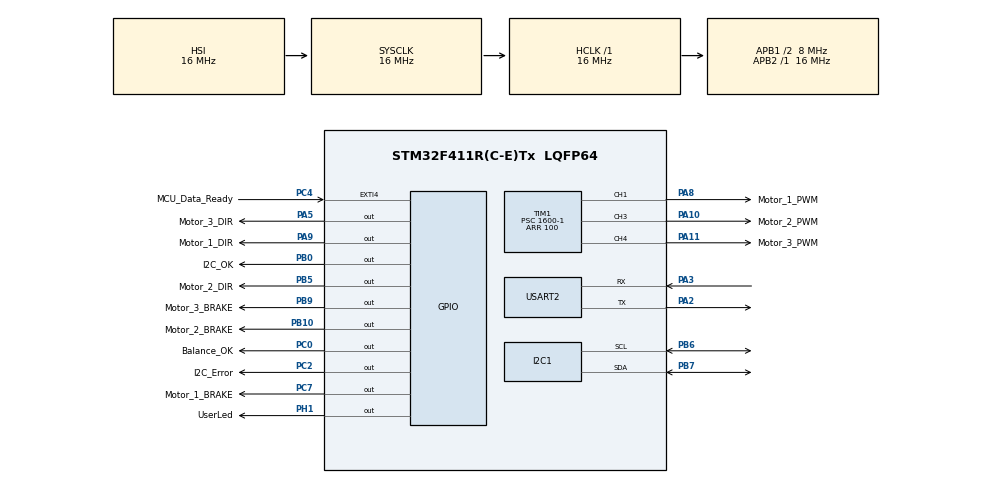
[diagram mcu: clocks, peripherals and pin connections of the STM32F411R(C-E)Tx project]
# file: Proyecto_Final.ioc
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Dma.Request0=USART2_RX
Dma.Request1=USART2_TX
Dma.USART2_RX.0.Direction=DMA_PERIPH_TO_MEMORY
Dma.USART2_RX.0.FIFOMode=DMA_FIFOMODE_DISABLE
Dma.USART2_RX.0.Instance=DMA1_Stream5
Dma.USART2_RX.0.MemDataAlignment=DMA_MDATAALIGN_BYTE
Dma.USART2_RX.0.MemInc=DMA_MINC_ENABLE
Dma.USART2_RX.0.Mode=DMA_NORMAL
Dma.USART2_RX.0.PeriphDataAlignment=DMA_PDATAALIGN_BYTE
Dma.USART2_RX.0.PeriphInc=DMA_PINC_DISABLE
Dma.USART2_RX.0.Priority=DMA_PRIORITY_LOW
Dma.USART2_TX.1.Direction=DMA_MEMORY_TO_PERIPH
Dma.USART2_TX.1.FIFOMode=DMA_FIFOMODE_DISABLE
Dma.USART2_TX.1.Instance=DMA1_Stream6
Dma.USART2_TX.1.MemDataAlignment=DMA_MDATAALIGN_BYTE
Dma.USART2_TX.1.MemInc=DMA_MINC_ENABLE
Dma.USART2_TX.1.Mode=DMA_NORMAL
Dma.USART2_TX.1.PeriphDataAlignment=DMA_PDATAALIGN_BYTE
Dma.USART2_TX.1.PeriphInc=DMA_PINC_DISABLE
Dma.USART2_TX.1.Priority=DMA_PRIORITY_LOW
Mcu.Family=STM32F4
Mcu.Name=STM32F411R(C-E)Tx
Mcu.Package=LQFP64
NVIC.DMA1_Stream5_IRQn=true\:0\:0\:false\:false\:true\:false\:true\:true
NVIC.DMA1_Stream6_IRQn=true\:0\:0\:false\:false\:true\:false\:true\:true
NVIC.PriorityGroup=NVIC_PRIORITYGROUP_0
NVIC.TIM2_IRQn=true\:0\:0\:false\:false\:true\:true\:true\:true
NVIC.USART2_IRQn=true\:0\:0\:false\:false\:true\:true\:true\:true
PA10.GPIO_Label=Motor_2_PWM
PA10.Signal=S_TIM1_CH3
PA11.GPIO_Label=Motor_3_PWM
PA11.Signal=S_TIM1_CH4
PA13.GPIO_Label=TMS
PA13.Mode=Serial_Wire
PA13.Signal=SYS_JTMS-SWDIO
PA14.GPIO_Label=TCK
PA14.Mode=Serial_Wire
PA14.Signal=SYS_JTCK-SWCLK
PA2.GPIO_ModeDefaultPP=GPIO_MODE_AF_PP
PA2.GPIO_PuPd=GPIO_NOPULL
PA2.GPIO_Speed=GPIO_SPEED_FREQ_VERY_HIGH
PA2.Mode=Asynchronous
PA2.Signal=USART2_TX
PA3.GPIO_ModeDefaultPP=GPIO_MODE_AF_PP
PA3.GPIO_PuPd=GPIO_NOPULL
PA3.GPIO_Speed=GPIO_SPEED_FREQ_VERY_HIGH
PA3.Mode=Asynchronous
PA3.Signal=USART2_RX
PA5.GPIO_Label=Motor_3_DIR
PA5.Signal=GPIO_Output
PA8.GPIO_Label=Motor_1_PWM
PA8.Signal=S_TIM1_CH1
PA9.GPIO_Label=Motor_1_DIR
PA9.Signal=GPIO_Output
PB0.GPIO_Label=I2C_OK
PB0.Signal=GPIO_Output
PB10.GPIO_Label=Motor_2_BRAKE
PB10.Signal=GPIO_Output
PB3.GPIO_Label=SWO
PB3.Signal=SYS_JTDO-SWO
PB5.GPIO_Label=Motor_2_DIR
PB5.Signal=GPIO_Output
PB6.Mode=I2C
PB6.Signal=I2C1_SCL
PB7.Mode=I2C
PB7.Signal=I2C1_SDA
PB9.GPIO_Label=Motor_3_BRAKE
PB9.Signal=GPIO_Output
PC0.GPIO_Label=Balance_OK
PC0.Signal=GPIO_Output
PC2.GPIO_Label=I2C_Error
PC2.Signal=GPIO_Output
PC4.GPIO_Label=MCU_Data_Ready
PC4.Signal=GPXTI4
PC7.GPIO_Label=Motor_1_BRAKE
PC7.Signal=GPIO_Output
PH1\ -\ OSC_OUT.GPIO_Label=UserLed
PH1\ -\ OSC_OUT.Signal=GPIO_Output
ProjectManager.HeapSize=0x200
ProjectManager.StackSize=0x400
ProjectManager.TargetToolchain=STM32CubeIDE
RCC.48MHZClocksFreq_Value=84000000
RCC.AHBFreq_Value=16000000
RCC.APB1CLKDivider=RCC_HCLK_DIV2
RCC.APB1Freq_Value=8000000
RCC.APB1TimFreq_Value=16000000
RCC.APB2Freq_Value=16000000
RCC.APB2TimFreq_Value=16000000
RCC.CortexFreq_Value=16000000
RCC.FLatency-AdvancedSettings=FLASH_LATENCY_0
RCC.HCLKFreq_Value=16000000
RCC.HSE_VALUE=8000000
RCC.HSI_VALUE=16000000
RCC.LSE_VALUE=32768
RCC.PLLN=336
RCC.PLLP=RCC_PLLP_DIV4
RCC.SYSCLKFreq_VALUE=16000000
RCC.VCOOutputFreq_Value=336000000
SH.S_TIM1_CH1.0=TIM1_CH1,PWM Generation1 CH1
SH.S_TIM1_CH3.0=TIM1_CH3,PWM Generation3 CH3
SH.S_TIM1_CH4.0=TIM1_CH4,PWM Generation4 CH4
TIM1.Channel-PWM\ Generation1\ CH1=TIM_CHANNEL_1
TIM1.Channel-PWM\ Generation3\ CH3=TIM_CHANNEL_3
TIM1.Channel-PWM\ Generation4\ CH4=TIM_CHANNEL_4
TIM1.Period=100
TIM1.Prescaler=1600-1
TIM1.Pulse-PWM\ Generation1\ CH1=50
TIM1.Pulse-PWM\ Generation3\ CH3=50
TIM1.Pulse-PWM\ Generation4\ CH4=50
TIM2.Period=250-1
TIM2.Prescaler=16000-1
USART2.VirtualMode=VM_ASYNC
VP_TIM1_VS_ClockSourceINT.Mode=Internal
VP_TIM2_VS_ClockSourceINT.Mode=Internal
board=NUCLEO-F411RE

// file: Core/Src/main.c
/* USER CODE BEGIN Header */
/**
  ******************************************************************************
  * @file           : main.c
  * @brief          : Main Proyecto Final Taller V, 2025-1
  * @author		 	: Jose Andrés Díaz Gutiérrez
  ******************************************************************************
  * @attention
  *
  * Copyright (c) 2025 STMicroelectronics.
  * All rights reserved.
  *
  *
  ******************************************************************************
  */
/* USER CODE END Header */
#include "main.h"

/* USER CODE BEGIN Includes */
#include "stdint.h"
#include "string.h"
#include "stdio.h"
#include <stdlib.h>
#define ARM_MATH_CM4	//Definimos esto porque estamos usando el núcleo ARM-Cortex M4
#include "arm_math.h"
#include "stm32f4xx_hal.h"
#include "arm_const_structs.h"
/* USER CODE END Includes */

I2C_HandleTypeDef hi2c1;

TIM_HandleTypeDef htim1;
TIM_HandleTypeDef htim2;

UART_HandleTypeDef huart2;
DMA_HandleTypeDef hdma_usart2_rx;
DMA_HandleTypeDef hdma_usart2_tx;

/* USER CODE BEGIN PV */
State_t Current_State = STATE_IDLE; 	// Se fija el estado por defecto

//Variables auxiliares para la comunciación USART
uint16_t rx_buffer_length = 64;
uint8_t rx_Buffer_A[RX_BUFFER_MAX_LENGTH]; // Buffer de recepción A
uint8_t rx_Buffer_B[RX_BUFFER_MAX_LENGTH]; // Buffer de recepción B
char 	tx_buffer[100];

volatile Paquete_Datos paquete_listo = {.buffer = NULL, .size = 0};
volatile BufferActivo buffer_activo_DMA = BUFFER_A;
uint8_t*  rx_buffer;
uint16_t  rx_size;

char *argumento_comandos;

//Variables para el acelerómetro
float ACCEL_X, ACCEL_Y, ACCEL_Z; // Variables para almacenar los valores del acelerómetro
float GYRO_X, GYRO_Y, GYRO_Z; // Variables para almacenar los valores del giroscopio
int16_t ACCEL_X_RAW, ACCEL_Y_RAW, ACCEL_Z_RAW; // Variables para almacenar los valores del acelerómetro _RAW
int16_t GYRO_X_RAW, GYRO_Y_RAW, GYRO_Z_RAW; // Variables para almacenar los valores del giroscopio _RAW

//Variables para el MPU6050
float dt = 1.0f / 700.0f;  // Tiempo entre lecturas, el MPU6050 tiene una frecuencia de 700Hz
float alpha = 0.98;        // Puedes ajustar entre 0.95 y 0.99 si quieres mayor o menor peso del giroscopio
float angulo = 0;

//Variable para el tracking del estado del balance
uint8_t balance = 0; // 0 = Balance desactivado, 1 = Balance activado

//Variables para el PID
float target_angle = 0.0f;      // Ángulo objetivo (vertical = 0°)
float error = 0.0f;
float prev_error = 0.0f;
float integral = 0.0f;
float derivative = 0.0f;

float kp = 3.73f;           // Ganancia proporcional
float ki = 0.12f;            // Ganancia integral
float kd = 0.31f;            // Ganancia derivativa

float pid_output = 0.0f;    // Salida del PID

//Le asignamos a una variable el mensaje de help, tipo static porque pues, no lo vamos a modificar nunca
static const char help_msg[] =
    "Opciones:\r\n"
    "1.  Configurar periodo del Blinky:              Config_Blinky_Period <Period (ms)>\r\n";

/* USER CODE END PV */

void SystemClock_Config(void);
static void MX_GPIO_Init(void);
static void MX_DMA_Init(void);
static void MX_USART2_UART_Init(void);
static void MX_I2C1_Init(void);
static void MX_TIM2_Init(void);
static void MX_TIM1_Init(void);
/* USER CODE BEGIN PFP */
void printhelp(void);
void FSM_update(State_t State);
void  I2C_verify(void);
void MPU6050_Init(void);
/* USER CODE END PFP */

int main(void)
{

  /* MCU Configuration--------------------------------------------------------*/

  /* Reset of all peripherals, Initializes the Flash interface and the Systick. */
  HAL_Init();

  /* Configure the system clock */
  SystemClock_Config();

  /* Initialize all configured peripherals */
  MX_GPIO_Init();
  MX_DMA_Init();
  MX_USART2_UART_Init();
  MX_I2C1_Init();
  MX_TIM2_Init();
  MX_TIM1_Init();
  /* USER CODE BEGIN 2 */

  HAL_TIM_PWM_Start(&htim1, TIM_CHANNEL_1);
  HAL_TIM_PWM_Start(&htim1, TIM_CHANNEL_3);
  HAL_TIM_PWM_Start(&htim1, TIM_CHANNEL_4);

  HAL_TIM_Base_Start_IT(&htim2); 	// Inicia el Timer 2 para interrupciones

  HAL_UARTEx_ReceiveToIdle_DMA(&huart2, rx_Buffer_A, rx_buffer_length); // Configura la recepción DMA con IDLE

  MPU6050_Init(); //Inicializamos el MPU6050

  //Todos los motores empiezan con el freno activado
  HAL_GPIO_WritePin(Motor_1_BRAKE_GPIO_Port, Motor_1_BRAKE_Pin, GPIO_PIN_RESET);
  HAL_GPIO_WritePin(Motor_2_BRAKE_GPIO_Port, Motor_2_BRAKE_Pin, GPIO_PIN_RESET);
  HAL_GPIO_WritePin(Motor_3_BRAKE_GPIO_Port, Motor_3_BRAKE_Pin, GPIO_PIN_RESET);

  /* USER CODE END 2 */

  /* Infinite loop */
  while (1){

    /* USER CODE BEGIN 3 */
	  I2C_verify(); // Verifica el estado del I2C y MPU6050
	  FSM_update(Current_State); // Llama a la función de actualización del FSM

  }
  /* USER CODE END 3 */
}

void SystemClock_Config(void)
{
  RCC_OscInitTypeDef RCC_OscInitStruct = {0};
  RCC_ClkInitTypeDef RCC_ClkInitStruct = {0};

  /** Configure the main internal regulator output voltage
  */
  __HAL_RCC_PWR_CLK_ENABLE();
  __HAL_PWR_VOLTAGESCALING_CONFIG(PWR_REGULATOR_VOLTAGE_SCALE1);

  /** Initializes the RCC Oscillators according to the specified parameters
  * in the RCC_OscInitTypeDef structure.
  */
  RCC_OscInitStruct.OscillatorType = RCC_OSCILLATORTYPE_HSI;
  RCC_OscInitStruct.HSIState = RCC_HSI_ON;
  RCC_OscInitStruct.HSICalibrationValue = RCC_HSICALIBRATION_DEFAULT;
  RCC_OscInitStruct.PLL.PLLState = RCC_PLL_NONE;
  if (HAL_RCC_OscConfig(&RCC_OscInitStruct) != HAL_OK)
  {
    Error_Handler();
  }

  /** Initializes the CPU, AHB and APB buses clocks
  */
  RCC_ClkInitStruct.ClockType = RCC_CLOCKTYPE_HCLK|RCC_CLOCKTYPE_SYSCLK
                              |RCC_CLOCKTYPE_PCLK1|RCC_CLOCKTYPE_PCLK2;
  RCC_ClkInitStruct.SYSCLKSource = RCC_SYSCLKSOURCE_HSI;
  RCC_ClkInitStruct.AHBCLKDivider = RCC_SYSCLK_DIV1;
  RCC_ClkInitStruct.APB1CLKDivider = RCC_HCLK_DIV2;
  RCC_ClkInitStruct.APB2CLKDivider = RCC_HCLK_DIV1;

  if (HAL_RCC_ClockConfig(&RCC_ClkInitStruct, FLASH_LATENCY_0) != HAL_OK)
  {
    Error_Handler();
  }
}

static void MX_I2C1_Init(void)
{

  hi2c1.Instance = I2C1;
  hi2c1.Init.ClockSpeed = 100000;
  hi2c1.Init.DutyCycle = I2C_DUTYCYCLE_2;
  hi2c1.Init.OwnAddress1 = 0;
  hi2c1.Init.AddressingMode = I2C_ADDRESSINGMODE_7BIT;
  hi2c1.Init.DualAddressMode = I2C_DUALADDRESS_DISABLE;
  hi2c1.Init.OwnAddress2 = 0;
  hi2c1.Init.GeneralCallMode = I2C_GENERALCALL_DISABLE;
  hi2c1.Init.NoStretchMode = I2C_NOSTRETCH_DISABLE;
  if (HAL_I2C_Init(&hi2c1) != HAL_OK)
  {
    Error_Handler();
  }

}

static void MX_TIM1_Init(void)
{

  TIM_ClockConfigTypeDef sClockSourceConfig = {0};
  TIM_MasterConfigTypeDef sMasterConfig = {0};
  TIM_OC_InitTypeDef sConfigOC = {0};
  TIM_BreakDeadTimeConfigTypeDef sBreakDeadTimeConfig = {0};

  htim1.Instance = TIM1;
  htim1.Init.Prescaler = 1600-1;
  htim1.Init.CounterMode = TIM_COUNTERMODE_UP;
  htim1.Init.Period = 100;
  htim1.Init.ClockDivision = TIM_CLOCKDIVISION_DIV1;
  htim1.Init.RepetitionCounter = 0;
  htim1.Init.AutoReloadPreload = TIM_AUTORELOAD_PRELOAD_DISABLE;
  if (HAL_TIM_Base_Init(&htim1) != HAL_OK)
  {
    Error_Handler();
  }
  sClockSourceConfig.ClockSource = TIM_CLOCKSOURCE_INTERNAL;
  if (HAL_TIM_ConfigClockSource(&htim1, &sClockSourceConfig) != HAL_OK)
  {
    Error_Handler();
  }
  if (HAL_TIM_PWM_Init(&htim1) != HAL_OK)
  {
    Error_Handler();
  }
  sMasterConfig.MasterOutputTrigger = TIM_TRGO_RESET;
  sMasterConfig.MasterSlaveMode = TIM_MASTERSLAVEMODE_DISABLE;
  if (HAL_TIMEx_MasterConfigSynchronization(&htim1, &sMasterConfig) != HAL_OK)
  {
    Error_Handler();
  }
  sConfigOC.OCMode = TIM_OCMODE_PWM1;
  sConfigOC.Pulse = 50;
  sConfigOC.OCPolarity = TIM_OCPOLARITY_HIGH;
  sConfigOC.OCNPolarity = TIM_OCNPOLARITY_HIGH;
  sConfigOC.OCFastMode = TIM_OCFAST_DISABLE;
  sConfigOC.OCIdleState = TIM_OCIDLESTATE_RESET;
  sConfigOC.OCNIdleState = TIM_OCNIDLESTATE_RESET;
  if (HAL_TIM_PWM_ConfigChannel(&htim1, &sConfigOC, TIM_CHANNEL_1) != HAL_OK)
  {
    Error_Handler();
  }
  if (HAL_TIM_PWM_ConfigChannel(&htim1, &sConfigOC, TIM_CHANNEL_3) != HAL_OK)
  {
    Error_Handler();
  }
  if (HAL_TIM_PWM_ConfigChannel(&htim1, &sConfigOC, TIM_CHANNEL_4) != HAL_OK)
  {
    Error_Handler();
  }
  sBreakDeadTimeConfig.OffStateRunMode = TIM_OSSR_DISABLE;
  sBreakDeadTimeConfig.OffStateIDLEMode = TIM_OSSI_DISABLE;
  sBreakDeadTimeConfig.LockLevel = TIM_LOCKLEVEL_OFF;
  sBreakDeadTimeConfig.DeadTime = 0;
  sBreakDeadTimeConfig.BreakState = TIM_BREAK_DISABLE;
  sBreakDeadTimeConfig.BreakPolarity = TIM_BREAKPOLARITY_HIGH;
  sBreakDeadTimeConfig.AutomaticOutput = TIM_AUTOMATICOUTPUT_DISABLE;
  if (HAL_TIMEx_ConfigBreakDeadTime(&htim1, &sBreakDeadTimeConfig) != HAL_OK)
  {
    Error_Handler();
  }
  HAL_TIM_MspPostInit(&htim1);

}

static void MX_TIM2_Init(void)
{

  TIM_ClockConfigTypeDef sClockSourceConfig = {0};
  TIM_MasterConfigTypeDef sMasterConfig = {0};

  htim2.Instance = TIM2;
  htim2.Init.Prescaler = 16000-1;
  htim2.Init.CounterMode = TIM_COUNTERMODE_UP;
  htim2.Init.Period = 250-1;
  htim2.Init.ClockDivision = TIM_CLOCKDIVISION_DIV1;
  htim2.Init.AutoReloadPreload = TIM_AUTORELOAD_PRELOAD_DISABLE;
  if (HAL_TIM_Base_Init(&htim2) != HAL_OK)
  {
    Error_Handler();
  }
  sClockSourceConfig.ClockSource = TIM_CLOCKSOURCE_INTERNAL;
  if (HAL_TIM_ConfigClockSource(&htim2, &sClockSourceConfig) != HAL_OK)
  {
    Error_Handler();
  }
  sMasterConfig.MasterOutputTrigger = TIM_TRGO_RESET;
  sMasterConfig.MasterSlaveMode = TIM_MASTERSLAVEMODE_DISABLE;
  if (HAL_TIMEx_MasterConfigSynchronization(&htim2, &sMasterConfig) != HAL_OK)
  {
    Error_Handler();
  }

}

static void MX_USART2_UART_Init(void)
{

  huart2.Instance = USART2;
  huart2.Init.BaudRate = 115200;
  huart2.Init.WordLength = UART_WORDLENGTH_8B;
  huart2.Init.StopBits = UART_STOPBITS_1;
  huart2.Init.Parity = UART_PARITY_NONE;
  huart2.Init.Mode = UART_MODE_TX_RX;
  huart2.Init.HwFlowCtl = UART_HWCONTROL_NONE;
  huart2.Init.OverSampling = UART_OVERSAMPLING_16;
  if (HAL_UART_Init(&huart2) != HAL_OK)
  {
    Error_Handler();
  }

}

static void MX_DMA_Init(void)
{

  /* DMA controller clock enable */
  __HAL_RCC_DMA1_CLK_ENABLE();

  /* DMA interrupt init */
  /* DMA1_Stream5_IRQn interrupt configuration */
  HAL_NVIC_SetPriority(DMA1_Stream5_IRQn, 0, 0);
  HAL_NVIC_EnableIRQ(DMA1_Stream5_IRQn);
  /* DMA1_Stream6_IRQn interrupt configuration */
  HAL_NVIC_SetPriority(DMA1_Stream6_IRQn, 0, 0);
  HAL_NVIC_EnableIRQ(DMA1_Stream6_IRQn);

}

static void MX_GPIO_Init(void)
{
  GPIO_InitTypeDef GPIO_InitStruct = {0};

  /* GPIO Ports Clock Enable */
  __HAL_RCC_GPIOH_CLK_ENABLE();
  __HAL_RCC_GPIOC_CLK_ENABLE();
  __HAL_RCC_GPIOA_CLK_ENABLE();
  __HAL_RCC_GPIOB_CLK_ENABLE();

  /*Configure GPIO pin Output Level */
  HAL_GPIO_WritePin(UserLed_GPIO_Port, UserLed_Pin, GPIO_PIN_RESET);

  /*Configure GPIO pin Output Level */
  HAL_GPIO_WritePin(GPIOC, Balance_OK_Pin|I2C_Error_Pin|Motor_1_BRAKE_Pin, GPIO_PIN_RESET);

  /*Configure GPIO pin Output Level */
  HAL_GPIO_WritePin(GPIOA, Motor_3_DIR_Pin|Motor_1_DIR_Pin, GPIO_PIN_RESET);

  /*Configure GPIO pin Output Level */
  HAL_GPIO_WritePin(GPIOB, I2C_OK_Pin|Motor_2_BRAKE_Pin|Motor_2_DIR_Pin|Motor_3_BRAKE_Pin, GPIO_PIN_RESET);

  /*Configure GPIO pin : UserLed_Pin */
  GPIO_InitStruct.Pin = UserLed_Pin;
  GPIO_InitStruct.Mode = GPIO_MODE_OUTPUT_PP;
  GPIO_InitStruct.Pull = GPIO_NOPULL;
  GPIO_InitStruct.Speed = GPIO_SPEED_FREQ_LOW;
  HAL_GPIO_Init(UserLed_GPIO_Port, &GPIO_InitStruct);

  /*Configure GPIO pins : Balance_OK_Pin I2C_Error_Pin Motor_1_BRAKE_Pin */
  GPIO_InitStruct.Pin = Balance_OK_Pin|I2C_Error_Pin|Motor_1_BRAKE_Pin;
  GPIO_InitStruct.Mode = GPIO_MODE_OUTPUT_PP;
  GPIO_InitStruct.Pull = GPIO_NOPULL;
  GPIO_InitStruct.Speed = GPIO_SPEED_FREQ_LOW;
  HAL_GPIO_Init(GPIOC, &GPIO_InitStruct);

  /*Configure GPIO pins : Motor_3_DIR_Pin Motor_1_DIR_Pin */
  GPIO_InitStruct.Pin = Motor_3_DIR_Pin|Motor_1_DIR_Pin;
  GPIO_InitStruct.Mode = GPIO_MODE_OUTPUT_PP;
  GPIO_InitStruct.Pull = GPIO_NOPULL;
  GPIO_InitStruct.Speed = GPIO_SPEED_FREQ_LOW;
  HAL_GPIO_Init(GPIOA, &GPIO_InitStruct);

  /*Configure GPIO pin : MCU_Data_Ready_Pin */
  GPIO_InitStruct.Pin = MCU_Data_Ready_Pin;
  GPIO_InitStruct.Mode = GPIO_MODE_IT_RISING;
  GPIO_InitStruct.Pull = GPIO_NOPULL;
  HAL_GPIO_Init(MCU_Data_Ready_GPIO_Port, &GPIO_InitStruct);

  /*Configure GPIO pins : I2C_OK_Pin Motor_2_BRAKE_Pin Motor_2_DIR_Pin Motor_3_BRAKE_Pin */
  GPIO_InitStruct.Pin = I2C_OK_Pin|Motor_2_BRAKE_Pin|Motor_2_DIR_Pin|Motor_3_BRAKE_Pin;
  GPIO_InitStruct.Mode = GPIO_MODE_OUTPUT_PP;
  GPIO_InitStruct.Pull = GPIO_NOPULL;
  GPIO_InitStruct.Speed = GPIO_SPEED_FREQ_LOW;
  HAL_GPIO_Init(GPIOB, &GPIO_InitStruct);

  /* USER CODE BEGIN MX_GPIO_Init_2 */
  // Para EXTI0 (PC0)
  HAL_NVIC_SetPriority(EXTI0_IRQn, 0, 0);
  HAL_NVIC_EnableIRQ(EXTI0_IRQn);

  // Para EXTI1 (PC1)
  HAL_NVIC_SetPriority(EXTI1_IRQn, 0, 0);
  HAL_NVIC_EnableIRQ(EXTI1_IRQn);

  // Para EXTI4 (PA4)
  HAL_NVIC_SetPriority(EXTI4_IRQn, 0, 0);
  HAL_NVIC_EnableIRQ(EXTI4_IRQn);

  // Para EXTI15_10 (PB15)
  HAL_NVIC_SetPriority(EXTI15_10_IRQn, 0, 0);
  HAL_NVIC_EnableIRQ(EXTI15_10_IRQn);
  /* USER CODE END MX_GPIO_Init_2 */
}

/* USER CODE BEGIN 4 */
void printhelp(void){
	//Esta función imprime el menú de opciones en el terminal
	HAL_UART_Transmit_DMA(&huart2, (uint8_t *)help_msg,strlen(help_msg));
	Current_State = STATE_IDLE; //Se vuelve al estado de REFRESCO
}

void  I2C_verify(void){
	uint8_t check;
	HAL_I2C_Mem_Read(&hi2c1, MPU6050_ADDR, MCU_WHO_AM_I_REG, 1, &check, 1, 1000);
	if (check == 0x68) {
	    //La pantalla y el MPU están respondiendo
		HAL_GPIO_WritePin(I2C_OK_GPIO_Port, I2C_OK_Pin, GPIO_PIN_SET);
	} else {
		HAL_GPIO_WritePin(I2C_OK_GPIO_Port, I2C_OK_Pin, GPIO_PIN_RESET);
		HAL_GPIO_WritePin(I2C_Error_GPIO_Port, I2C_Error_Pin, GPIO_PIN_SET);

	}
}

void MPU6050_Init(void){
	uint8_t check, data; //Variables auxiliares para la comunicación I2C
	//Primero verificamos que el MPU6050 esté conectado, leyendo el registro WHO_AM_I (0x75), el sensor debería retornar 0x68, su ADDRESS con AD0 = 0
	HAL_I2C_Mem_Read(&hi2c1, MPU6050_ADDR, MCU_WHO_AM_I_REG, 1, &check, 1, 1000);

	if(check != 0x68){
		//El sensor no está conectado correctamente
		const char *msg = "MPU6050 desconectado. Conéctelo correctamente y escriba: Start_DMU.\n";
		HAL_UART_Transmit_DMA(&huart2, (uint8_t *)msg, strlen(msg));
		HAL_GPIO_WritePin(I2C_Error_GPIO_Port, I2C_Error_Pin, GPIO_PIN_SET);
		return; //No se puede continuar
	}
	HAL_GPIO_WritePin(I2C_OK_GPIO_Port, I2C_OK_Pin, GPIO_PIN_SET);
	//Si está conectado, procedemos a configurarlo, escribiendno en el registro PWR_MGMT_1 (0x6B) un 0x00, para que el sensor esté activo
	/*	Bit 7: Device_Reset 	= 0, No queremos reiniciar el dispositivo
	 *  Bit 6: Sleep 			= 0, No queremos que el dispositivo esté en modo de sueño
	 *  Bit 5: Cycle 			= 0, No queremos que el dispositivo esté en modo de ciclo
	 *  Bit 4: Reserved 		= 0, Reservado
	 *  Bit 3: Temp_Disable 	= 1, No necesitamos que el sensor mida la temperatura
	 *  Bit 2-0: Clock_Select 	= 000, Seleccionamos el reloj interno del sensor
	 *  Escribimos entonces  0b00001000 = 0x08
	 */
	data = 0x08; //Valor a escribir en el registro PWR_MGMT_1
	HAL_I2C_Mem_Write(&hi2c1, MPU6050_ADDR, PWR_MGMT_1_REG, 1, &data, 1, 1000);
	/*
	 * Ahora debemos configurar el sample rate del sensor, fijándonos en el registro SMPLRT_DIV 0x19 y en el Configuration 0x1A
	 * Por defecto, configuration = 0x00, lo que significa que el sensor tiene un gyroscope output rate de 8kHz
	 * Luego, en en SMPLRT_Div, escribimos un valor de 0x07, para configurar el sample rate a 1kHz
	 * Sample Rate = Gyroscope Output Rate / (1 + SMPLRT_DIV)
	 */
	data = 0x08; //Valor para escribir en SMPLRT_DIV
	HAL_I2C_Mem_Write(&hi2c1, MPU6050_ADDR, SMPLRT_DIV_REG, 1, &data, 1, 1000);
	/*
	 * Procedemos a configurar la escala del giroscopio y acelerómetro a un rango de 2000°/s 0x18
	 * Y un rango en la aceleración de +- 2g: 0x18
	 * Omitimos los self tests, pues no los vamos a usar
	 */
	data = 0x00; //Valor para escribir en el registro GYRO_CONFIG (0x1B) y ACCEL_CONFIG_REG (0x1C)
	HAL_I2C_Mem_Write(&hi2c1, MPU6050_ADDR, GYRO_CONFIG_REG, 1, &data, 1, 1000);
	HAL_I2C_Mem_Write(&hi2c1, MPU6050_ADDR, ACCEL_CONFIG_REG, 1, &data, 1, 1000);

	data = 0x01; //Valor a escribir en el INT_ENABLE para activar una interrupción en el MPU cada que hayan datos listos para leer
	HAL_I2C_Mem_Write(&hi2c1, MPU6050_ADDR, MCU_INT_ENABLE, 1, &data, 1, 1000);

}

void MPU6050_Read_Accel(void){
	/*
	 * La configuración que tenemos es de +- 16g
	 * Por lo tanto, LSB sensitivity es de 2048 LSB/g
	 */
	uint8_t data_Recolectada[6];

	// Leemos los 6 bytes de data empezando desde el registro ACCEL_XOUT_H (0x3B)

	HAL_I2C_Mem_Read(&hi2c1, MPU6050_ADDR, ACCEL_XOUT_H_REG, 1, data_Recolectada, 6, 1000);

	ACCEL_X_RAW = (int16_t)(data_Recolectada[0] << 8 | data_Recolectada[1]); // Combinamos los dos bytes de datos para el eje X
	ACCEL_Y_RAW = (int16_t)(data_Recolectada[2] << 8 | data_Recolectada[3]); // Combinamos los dos bytes de datos para el eje Y
	ACCEL_Z_RAW = (int16_t)(data_Recolectada[4] << 8 | data_Recolectada[5]); // Combinamos los dos bytes de datos para el eje Z

	ACCEL_X = (float )ACCEL_X_RAW / 16384; // Convertimos a g
	ACCEL_Y = (float )ACCEL_Y_RAW / 16384; // Convertimos a g
	ACCEL_Z = (float )ACCEL_Z_RAW / 16384; // Convertimos a g
}

void MPU6050_Read_Gyro(void){
	/*
	 * La configuración que tenemos es de 2000°/s
	 * Por lo tanto, LSB sensitivity es de 16.4 LSB/s
	 */
	uint8_t data_Recolectada[6];

	// Leemos los 6 bytes de data empezando desde el registro GYRO_XOUT_H (0x43)

	HAL_I2C_Mem_Read(&hi2c1, MPU6050_ADDR, GYRO_XOUT_H_REG, 1, data_Recolectada, 6, 1000);

	GYRO_X_RAW = (int16_t)(data_Recolectada[0] << 8 | data_Recolectada[1]); // Combinamos los dos bytes de datos para el eje X
	GYRO_Y_RAW = (int16_t)(data_Recolectada[2] << 8 | data_Recolectada[3]); // Combinamos los dos bytes de datos para el eje Y
	GYRO_Z_RAW = (int16_t)(data_Recolectada[4] << 8 | data_Recolectada[5]); // Combinamos los dos bytes de datos para el eje Z

	GYRO_X = (float )GYRO_X_RAW / 131; // Convertimos a °/s
	GYRO_Y = (float )GYRO_Y_RAW / 131; // Convertimos a °/s
	GYRO_Z = (float )GYRO_Z_RAW / 131; // Convertimos a °/s
}

void update_angle_with_complementary_filter() {

    MPU6050_Read_Accel();
    MPU6050_Read_Gyro();

    // Calcula ángulo a partir del acelerómetro (ejemplo: eje Y vs Z, inclinación sobre eje X)
    float accel_angle = atan2f(ACCEL_Y, ACCEL_Z) * 180.0f / M_PI;

    // Integración del giroscopio (ejemplo: GYRO_X controla rotación sobre X)
    float gyro_rate = GYRO_X;  // en grados por segundo

    angulo = alpha * (angulo + gyro_rate * dt) + (1 - alpha) * accel_angle;
}

void actualizar_PID(float angle, float dt) {
    error = target_angle - angle;

    integral += error * dt;
    derivative = (error - prev_error) / dt;

    pid_output = kp * error + ki * integral + kd * derivative;

    prev_error = error;

    // Límite de salida (anti-windup y saturación PWM)
    if (pid_output > 100) pid_output = 100;
    else if (pid_output < -100) pid_output = -100;
}

void set_motor_pwm(MotorID_t motor, uint8_t duty) {
	if (duty > 100) duty = 100;

	uint32_t pwm_value = (__HAL_TIM_GET_AUTORELOAD(&htim1) * duty) / 100;

	switch (motor) {
		case MOTOR_1:
			__HAL_TIM_SET_COMPARE(&htim1, TIM_CHANNEL_1, pwm_value); // Motor 1 -> PA8
			break;
		case MOTOR_2:
			__HAL_TIM_SET_COMPARE(&htim1, TIM_CHANNEL_3, pwm_value); // Motor 2 -> PA10
			break;
		case MOTOR_3:
			__HAL_TIM_SET_COMPARE(&htim1, TIM_CHANNEL_4, pwm_value); // Motor 3 -> PA11
			break;
	}
}

void aplicar_salida_motor(MotorID_t motor, float pid_output) {
	GPIO_TypeDef* DIR_Port = NULL;
	uint16_t DIR_Pin = 0;
	GPIO_TypeDef* BRAKE_Port = NULL;
	uint16_t BRAKE_Pin = 0;

	if (pid_output > 100.0f) pid_output = 100.0f;
	if (pid_output < -100.0f) pid_output = -100.0f;

	// Seleccionar pines de acuerdo al motor
	switch (motor) {
		case MOTOR_1:
			DIR_Port = Motor_1_DIR_GPIO_Port;
			DIR_Pin  = Motor_1_DIR_Pin;
			BRAKE_Port = Motor_1_BRAKE_GPIO_Port;
			BRAKE_Pin  = Motor_1_BRAKE_Pin;
			break;
		case MOTOR_2:
			DIR_Port = Motor_2_DIR_GPIO_Port;
			DIR_Pin  = Motor_2_DIR_Pin;
			BRAKE_Port = Motor_2_BRAKE_GPIO_Port;
			BRAKE_Pin  = Motor_2_BRAKE_Pin;
			break;
		case MOTOR_3:
			DIR_Port = Motor_3_DIR_GPIO_Port;
			DIR_Pin  = Motor_3_DIR_Pin;
			BRAKE_Port = Motor_3_BRAKE_GPIO_Port;
			BRAKE_Pin  = Motor_3_BRAKE_Pin;
			break;
		default:
			return; // Motor inválido
	}

	if (pid_output > 0) {
		HAL_GPIO_WritePin(DIR_Port, DIR_Pin, GPIO_PIN_SET);   // Sentido A
		HAL_GPIO_WritePin(BRAKE_Port, BRAKE_Pin, GPIO_PIN_RESET);
		set_motor_pwm(motor, (uint8_t)pid_output);
	} else if (pid_output < 0) {
		HAL_GPIO_WritePin(DIR_Port, DIR_Pin, GPIO_PIN_RESET); // Sentido B
		HAL_GPIO_WritePin(BRAKE_Port, BRAKE_Pin, GPIO_PIN_RESET);
		set_motor_pwm(motor, (uint8_t)(-pid_output));
	} else {
		// Freno activo
		HAL_GPIO_WritePin(BRAKE_Port, BRAKE_Pin, GPIO_PIN_SET);
		set_motor_pwm(motor, 0);
	}
}

void set_balance_angle(void) {
    // Asegúrate de haber leído sensores antes
    MPU6050_Read_Accel();
    MPU6050_Read_Gyro();
    update_angle_with_complementary_filter();

    target_angle = angulo;  // Establece el ángulo actual como el nuevo punto de equilibrio
    Current_State = STATE_BALANCE; // Cambia al estado de balanceo
    balance = 1; // Activa el modo de balanceo
    HAL_GPIO_WritePin(Balance_OK_GPIO_Port, Balance_OK_Pin, GPIO_PIN_SET); // Enciende un LED para indicar que el balance está activo
}

void unknown(void){
	const char *error_msg = "Comando no reconocido. Escriba 'help' para ver las opciones disponibles.\n";
	HAL_UART_Transmit_DMA(&huart2, (uint8_t *)error_msg, strlen(error_msg));
	Current_State = STATE_IDLE;
}

ID_Comando encontrar_id_comando(const char* str_comando){
    for (int i = 0; i < NUM_COMANDOS; i++) {
        if (strcmp(str_comando, comandos[i].command_str) == 0) {
            return comandos[i].id_comando;
        }
    }
    return CMD_ID_UNKNOWN;
}

void despachar_comando(char *line){
	/*
	 * Esta función despacha el comando recibido por el USART
	 * Se van a separar los comandos y argumentos
	 * de la línea recibida por el USART
	 */

	//Empezamos por eliminar los caracteres de nueva línea y retorno de carro \r
	for (int i = 0; i < rx_size; i++) {
	    if (line[i] == '\r' || line[i] == '\n') {
	    	line[i] = '\0';
	        break;
	    }
	}

	char *argumento = strchr(line, ' '); //Se separa el parámetro del resto de la línea
	 if (argumento) {
	        *argumento = '\0';  // separamos con null terminator
	        argumento++;        // ahora argumento apunta al primer argumento
	    } else {
	        argumento = "";     // sin argumentos
	    }

	 argumento_comandos = argumento;
	 ID_Comando id = encontrar_id_comando(line);
	 switch (id){
	 	 case CMD_ID_printhelp: 			Current_State = STATE_HELP; 				break;
	 	 case CMD_ID_Balance:				set_balance_angle();						break;
	 	 case CMD_ID_UNKNOWN:				unknown();									break;
	 }
}

void FSM_update(State_t State){
	switch (State){
		case STATE_IDLE:{
			I2C_verify();	 //Verificamos el estado del I2C
			break;
		}case STATE_READ_MCU_DATA:{
			if (!balance){
				MPU6050_Read_Accel(); //Leemos el acelerómetro
				MPU6050_Read_Gyro(); //Leemos el giroscopio
				I2C_verify();	 //Verificamos el estado del I2C
				Current_State = STATE_IDLE; //Si el balance no está activo, pasamos al estado IDLE
				break; //No hacemos nada más
			}
			Current_State = STATE_BALANCE; //Si el balance está activo, pasamos al estado de balance
			break;
		}case STATE_HELP :{
			printhelp();
			break;
		}case STATE_BALANCE:{
			I2C_verify();	 //Verificamos el estado del I2C
		    // 1. Leer sensores (acelerómetro y giroscopio)
		    MPU6050_Read_Accel();
		    MPU6050_Read_Gyro();

		    // 2. Estimar ángulo con filtro complementario
		    update_angle_with_complementary_filter();

		    // 3. Calcular salida PID
		    actualizar_PID(angulo, dt);

		    // 4. Aplicar a motores
		    aplicar_salida_motor(MOTOR_1, pid_output);
		    aplicar_salida_motor(MOTOR_2, pid_output);
		    aplicar_salida_motor(MOTOR_3, pid_output);

		    break;
		}case STATE_TERMINAL:{
			if (paquete_listo.size > 0){
				// --- DATA IS READY FOR PROCESSING ---
				// The DMA is now safely filling the *other* buffer.
				// We can take as long as we need to process the data in
				// data_ready_packet.buffer without risk of corruption.

				// First, get a local copy of the pointer and size
				rx_buffer = paquete_listo.buffer;
				rx_size = paquete_listo.size;

			// --- IMPORTANT: Clear the volatile struct to "consume" the data ---
				// This signals we are done and can accept the next packet.
				paquete_listo.buffer = NULL;
				paquete_listo.size = 0;
			}
			despachar_comando((char *) rx_buffer); //Se despacha el comando recibido por el terminal
		}
	}
}

void HAL_TIM_PeriodElapsedCallback(TIM_HandleTypeDef *htim){
	if(htim->Instance == TIM2){
		HAL_GPIO_TogglePin(UserLed_GPIO_Port, UserLed_Pin); // UserLed parpadea cada 250ms
	}
}

void HAL_GPIO_EXTI_Callback(uint16_t GPIO_Pin){
	if(GPIO_Pin == MCU_Data_Ready_Pin){
		Current_State = STATE_READ_MCU_DATA;
	}
}

//Callback del USART Idle para no tener que saber el tamaño del mensaje
void HAL_UARTEx_RxEventCallback(UART_HandleTypeDef *huart, uint16_t Size){
	if (huart->Instance == USART2) {
		if (buffer_activo_DMA == BUFFER_A){
			// Señal de que el Buffer A está listo
			paquete_listo.buffer  = rx_Buffer_A;
			paquete_listo.size = Size;
			// Inmediatamente cambiamos el DMA al buffer B
			buffer_activo_DMA = BUFFER_B;
			HAL_UARTEx_ReceiveToIdle_DMA(&huart2, rx_Buffer_B, rx_buffer_length); // Configura la recepción DMA con IDLE
		}else {
			// Señal de que el Buffer B está listo
			paquete_listo.buffer = rx_Buffer_B;
			paquete_listo.size = Size;
			// Inmediatamente cambiamos el DMA al buffer
			buffer_activo_DMA = BUFFER_A;
			HAL_UARTEx_ReceiveToIdle_DMA(&huart2, rx_Buffer_A, rx_buffer_length); // Configura la recepción DMA con IDLE
		}
		Current_State = STATE_TERMINAL;
		}
}

/* USER CODE END 4 */

void Error_Handler(void)
{
  __disable_irq();
  while (1)
  {
  }
}
